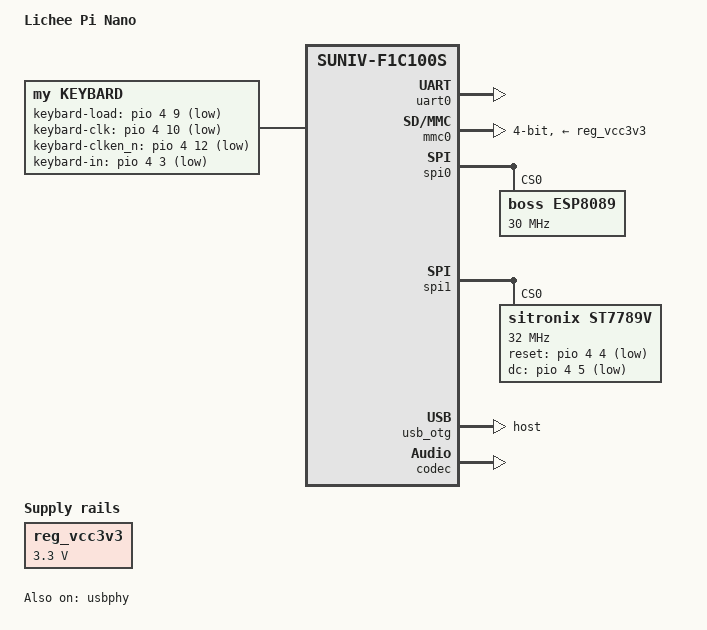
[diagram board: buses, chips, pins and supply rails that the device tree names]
// SPDX-License-Identifier: (GPL-2.0+ OR X11)
/*
 * Copyright 2018 Icenowy Zheng <icenowy@aosc.io>
 */

/dts-v1/;
#include "suniv-f1c100s.dtsi"

/ {
	model = "Lichee Pi Nano";
	compatible = "licheepi,licheepi-nano", "allwinner,suniv-f1c100s";

	aliases {
		serial0 = &uart0;
	};

	chosen {
		stdout-path = "serial0:115200n8";
	};
	
	reg_vcc3v3: vcc3v3 {
		compatible = "regulator-fixed";
		regulator-name = "vcc3v3";
		regulator-min-microvolt = <3300000>;
		regulator-max-microvolt = <3300000>;
	};

    //keyboard
    keybard {
            compatible = "my,keybard";
            pinctrl-names = "default";
            /* 将两个子节点都放进同一个状态 (index=0) */
            pinctrl-0 = <&keybard_out_pins &keybard_in_pins>;

            /* 下面是你驱动中要解析的属性名 */
            keybard-load = <&pio 4 9 GPIO_ACTIVE_LOW>;   // PE9
            keybard-clk = <&pio 4 10 GPIO_ACTIVE_LOW>;  // PE10
            keybard-clken_n = <&pio 4 12 GPIO_ACTIVE_LOW>;  // PE12
            keybard-in  = <&pio 4 3 GPIO_ACTIVE_LOW>;  // PE3

            status = "okay";
    };
};

&uart0 {
	pinctrl-names = "default";
	pinctrl-0 = <&uart0_pe_pins>;
	status = "okay";
};
//sd
&mmc0 {
	vmmc-supply = <&reg_vcc3v3>;
	bus-width = <4>;
	broken-cd;
	status = "okay";
};
//esp
&spi0 {
    status = "okay";   
    esp8089@0 {
        status = "okay";
        compatible = "boss,esp8089";
        spi-cpol;
        spi-cpha;
        reg = <0>;
        spi-max-frequency = <30000000>;
        reset= <135>; //PE7
        interrupt= <136>; //PE8
        debug= <0>;
    };  
};
//tft
&spi1 {
    st7789v@0 {
        status = "okay";
        compatible = "sitronix,st7789v";
               reg = <0>;
               spi-max-frequency =<32000000>;        //SPI时钟32M
               rotate =<270>;                    //屏幕旋转角度
               spi-cpol;
               spi-cpha;
               rgb;                           //颜色格式RGB
               fps =<30>;                      //刷新30帧率
               buswidth =<8>;                   //总线宽度8
               reset-gpios=<&pio 4 4 GPIO_ACTIVE_LOW>;   //GPIOE4
               dc-gpios  =<&pio 4 5 GPIO_ACTIVE_LOW>;   //GPIOE5
               debug =<0>;                     //不开启调试
        };
}; 
//usb
&otg_sram {
        status = "okay";
};

&usb_otg {
        dr_mode = "host"; /* 三个可选项: otg / host / peripheral  我在这里指定为host模式*/
        status = "okay";
};

&usbphy {
        usb0_id_det-gpio = <&pio 4 2 GPIO_ACTIVE_HIGH>; /* PE2 */
        status = "okay";
};

//codec
&codec {
    allwinner,audio-routing =
    "Headphone", "HP",
    "Headphone", "HPCOM",
    "MIC", "Mic";
    status = "okay";
};
